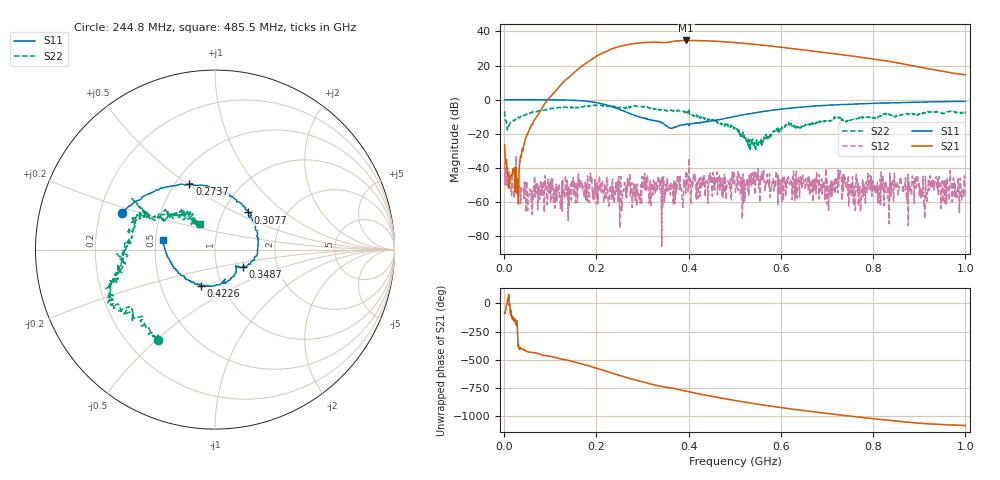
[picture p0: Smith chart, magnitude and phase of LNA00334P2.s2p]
! Created with skrf 1.9.0 (http://scikit-rf.org).
# Hz S RI R 50.0
!freq ReS11 ImS11 ReS21 ImS21 ReS12 ImS12 ReS22 ImS22
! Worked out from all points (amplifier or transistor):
!   1001 points, 1 MHz to 1 GHz, reference 50 ohm
!   highest |S21| = 34.7 dB at 394.6 MHz (marker M1)
!   |S21| within 3 dB of that: 257.7 MHz to 568.8 MHz (311.1 MHz wide, 75.3 % of centre)
!   unconditionally stable (mu >= 1): 3.548 MHz to 67.62 MHz; 310.8 MHz to 400.2 MHz; 401 MHz to end of sweep (the widest 3 of 31)
!   at 166.8 MHz: K = 1.40, MAG = 29.6 dB, |S12| = -47.4 dB
!   at 500.5 MHz: K = 2.71, MAG = 34.2 dB, |S12| = -49.2 dB
!   at 1 GHz: K = 9.55, MAG = 23.0 dB, |S12| = -57.0 dB
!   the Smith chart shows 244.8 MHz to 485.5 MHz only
!   S11 on the Smith chart (normalised r, x): 244.8 MHz: 0.29, +0.18; 273.7 MHz: 0.59, +0.51; 307.7 MHz: 1.30, +0.59; 348.7 MHz: 1.34, -0.26; 422.6 MHz: 0.79, -0.33; 485.5 MHz: 0.55, +0.06
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1000000  0.9967 0.0102  0.000917 -0.0488  -0.0119 -0.00471  0.2858 0.3638
1.08892e8  0.5115 -0.8536  -0.7779 -1.456  0.00254 6.71e-05  0.4264 -0.3589
1.67833e8  -0.255 -0.8961  -9.523 -0.5666  0.000307 0.00285  0.0373 -0.624
2.1079e8  -0.6925 -0.3413  -15.04 16.71  -0.00197 4.64e-06  -0.2172 -0.6558
2.44756e8  -0.5178 0.206  1.199 34.82  -0.00189 0.000851  -0.315 -0.5011
2.73727e8  -0.1428 0.3646  26.25 33.53  -0.00124 0.000866  -0.5405 -0.3441
3.07693e8  0.1849 0.2072  46.13 12.23  -0.00226 6.05e-05  -0.5548 -0.1846
3.34666e8  0.2333 -0.0332  47.09 -9.669  0.00216 0.00554  -0.4979 -0.0798
3.48652e8  0.1546 -0.0942  44.09 -17.57  0.00102 -0.00145  -0.5036 0.0367
3.7063e8  0.1174 -0.1023  41.69 -31.54  -7.65e-06 0.000907  -0.4455 0.159
3.94606e8  0.0598 -0.186  27.87 -46.83  0.00573 0.00584  -0.38 0.2083
4.22578e8  -0.0791 -0.2005  6.592 -53.42  0.00189 0.00358  -0.2291 0.2
4.5055e8  -0.2062 -0.1259  -13.51 -50.93  0.00186 0.00084  -0.1578 0.2014
4.85515e8  -0.2899 0.0524  -31.96 -37.18  0.00324 0.00272  -0.0816 0.1449
5.005e8  -0.2946 0.1363  -37.27 -29.59  -0.000775 0.00336  -0.0733 0.1262
5.4046e8  -0.2094 0.3491  -41.28 -8.613  0.00157 -0.00312  -0.0375 0.0276
5.88412e8  0.00902 0.5074  -34.28 11.08  0.000137 -0.00351  -0.1107 -0.0613
6.67333e8  0.3984 0.5069  -13.03 23.14  0.00121 -0.0016  -0.1947 -0.0559
7.53247e8  0.684 0.2909  3.794 18.69  0.00149 0.00101  -0.2557 0.0027
8.34166e8  0.807 0.0239  9.803 9.021  0.000233 -3.52e-05  -0.3677 -0.00893
9.09091e8  0.8257 -0.2432  8.341 2.144  -0.000291 0.00158  -0.3694 0.1546
1e9  0.7351 -0.5244  5.403 -0.2731  0.00129 0.000566  -0.2957 0.3368
